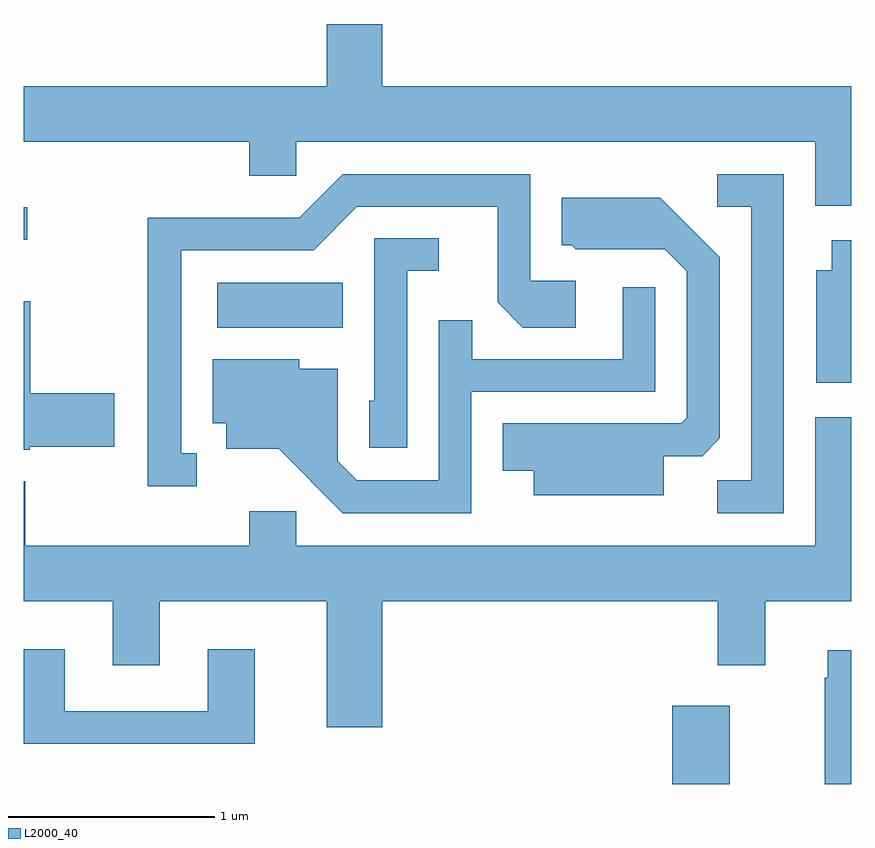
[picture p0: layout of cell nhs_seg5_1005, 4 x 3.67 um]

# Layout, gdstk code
import gdstk
lib = gdstk.Library(unit=1e-6, precision=1e-09)
def R(c, l, rs):  # rectangles x0, y0, x1, y1
    for r in rs: c.add(gdstk.rectangle(r[:2], r[2:], *l))
def P(c, l, *ps):  # polygons
    for p in ps: c.add(gdstk.Polygon(p, *l))
L2000_40 = (2000, 40)

nhs_seg5_1005 = lib.new_cell('nhs_seg5_1005')
R(nhs_seg5_1005, L2000_40, [(216.746,1518.072,217.024,1518.449), (214.546,1520.276,215.154,1520.494), (213.611,1520.701,213.628,1520.859)])
P(nhs_seg5_1005, L2000_40, [(217.611,1521.444),(215.344,1521.444),(215.344,1521.744),(215.076,1521.744),(215.076,1521.444),(213.611,1521.444),(213.611,1521.176),(214.701,1521.176),(214.701,1521.011),(214.929,1521.011),(214.929,1521.176),(217.436,1521.176),(217.436,1520.866),(217.611,1520.866)],
  [(214.448,1519.669),(214.374,1519.669),(214.374,1520.651),(215.012,1520.651),(215.222,1520.861),(215.901,1520.861),(215.901,1520.399),(216.024,1520.276),(216.279,1520.276),(216.279,1520.504),(216.059,1520.504),(216.059,1521.019),(215.154,1521.019),(214.944,1520.809),(214.211,1520.809),(214.211,1519.511),(214.448,1519.511)],
  [(217.284,1521.019),(216.963,1521.019),(216.963,1520.861),(217.126,1520.861),(217.126,1519.539),(216.963,1519.539),(216.963,1519.381),(217.284,1519.381)],
  [(216.704,1519.656),(216.889,1519.656),(216.974,1519.742),(216.974,1520.617),(216.687,1520.904),(216.211,1520.904),(216.211,1520.676),(216.259,1520.676),(216.279,1520.656),(216.709,1520.656),(216.816,1520.549),(216.816,1519.842),(216.789,1519.814),(215.926,1519.814),(215.926,1519.586),(216.076,1519.586),(216.076,1519.466),(216.704,1519.466)],
  [(215.464,1520.551),(215.618,1520.551),(215.618,1520.709),(215.306,1520.709),(215.306,1519.924),(215.281,1519.924),(215.281,1519.696),(215.464,1519.696)],
  [(217.611,1520.699),(217.516,1520.699),(217.516,1520.554),(217.441,1520.554),(217.441,1520.011),(217.611,1520.011)],
  [(215.774,1519.966),(216.664,1519.966),(216.664,1520.473),(216.506,1520.473),(216.506,1520.124),(215.779,1520.124),(215.779,1520.313),(215.616,1520.313),(215.616,1519.539),(215.222,1519.539),(215.129,1519.632),(215.129,1520.079),(214.944,1520.079),(214.944,1520.124),(214.526,1520.124),(214.526,1519.816),(214.591,1519.816),(214.591,1519.691),(214.844,1519.691),(215.154,1519.381),(215.774,1519.381)],
  [(213.64,1519.701),(214.049,1519.701),(214.049,1519.959),(213.644,1519.959),(213.644,1520.404),(213.611,1520.404),(213.611,1519.686),(213.64,1519.686)],
  [(215.344,1518.956),(216.966,1518.956),(216.966,1518.646),(217.194,1518.646),(217.194,1518.956),(217.611,1518.956),(217.611,1519.844),(217.436,1519.844),(217.436,1519.224),(214.929,1519.224),(214.929,1519.389),(214.701,1519.389),(214.701,1519.224),(213.619,1519.224),(213.619,1519.534),(213.611,1519.534),(213.611,1518.956),(214.041,1518.956),(214.041,1518.646),(214.269,1518.646),(214.269,1518.956),(215.076,1518.956),(215.076,1518.346),(215.344,1518.346)],
  [(214.729,1518.724),(214.501,1518.724),(214.501,1518.424),(213.809,1518.424),(213.809,1518.724),(213.611,1518.724),(213.611,1518.266),(214.729,1518.266)],
  [(217.611,1518.719),(217.496,1518.719),(217.496,1518.585),(217.481,1518.585),(217.481,1518.072),(217.611,1518.072)])

lib.write_gds('nhs_seg5_1005.gds')
